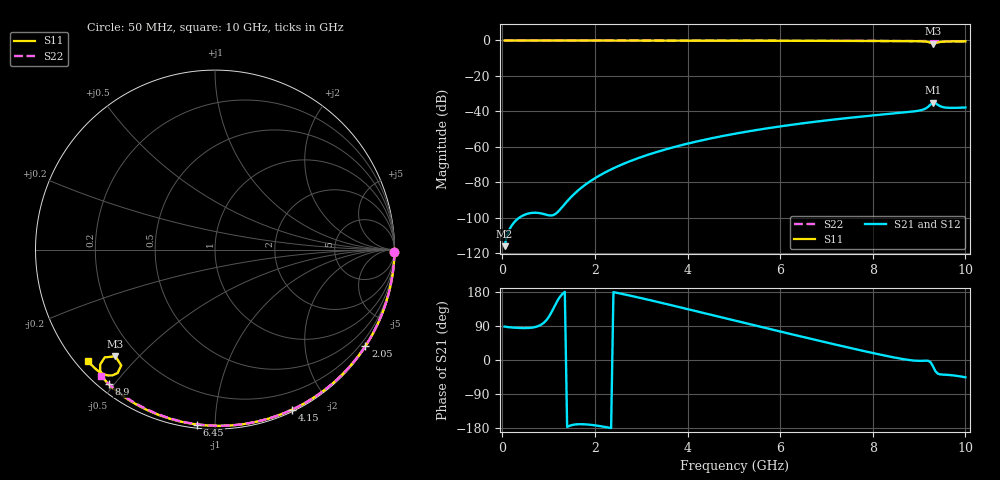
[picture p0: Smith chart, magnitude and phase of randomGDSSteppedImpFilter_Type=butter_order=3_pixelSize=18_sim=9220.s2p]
! freq	dB(S11)	phase(S11)	dB(S12)	phase(S12)
!  dB(S21)	phase(S21)	dB(S22)	phase(S22)
!S-par simulation data
#  GHz  S  DB  R 50
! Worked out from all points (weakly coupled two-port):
!   200 points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, 50 MHz to 10 GHz, reference 50 ohm
!   highest |S21| = -35.03 dB at 9.3 GHz (marker M1); lowest = -116.0 dB at 50 MHz (marker M2)
!   lowest |S11| = -1.8 dB at 9.3 GHz (marker M3), VSWR 9.69, Z = 6.12 - j21.4 ohm
!   |S11| at or under -10 dB: nowhere
!   |S22| runs from -0.4 to 0.0 dB; largest |S21 - S12| = 0
!   S11 on the Smith chart (normalised r, x): 50 MHz: open; 2.05 GHz: 0.03, -3.41; 4.15 GHz: 0.02, -1.59; 6.45 GHz: 0.02, -0.90; 8.9 GHz: 0.03, -0.48; 10 GHz: 0.03, -0.38
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0.05  -0.00 -0.8  -116.02 88.3  -116.02 88.3  -0.00 -0.8
0.9  -0.02 -14.5  -97.94 98.6  -97.94 98.6  -0.02 -13.6
1.75  -0.04 -28.0  -82.18 -169.5  -82.18 -169.5  -0.03 -26.3
1.85  -0.04 -29.6  -80.27 -170.3  -80.27 -170.3  -0.04 -27.8
2.05  -0.04 -32.7  -76.91 -173.3  -76.91 -173.3  -0.04 -30.7
2.35  -0.05 -37.3  -72.72 -179.7  -72.72 -179.7  -0.04 -35.1
2.65  -0.05 -41.9  -69.22 172.8  -69.22 172.8  -0.05 -39.4
3.4  -0.07 -53.2  -62.40 151.9  -62.40 151.9  -0.07 -50.1
4.15  -0.09 -64.2  -57.27 129.9  -57.27 129.9  -0.08 -60.4
5.05  -0.12 -76.9  -52.47 103.2  -52.47 103.2  -0.11 -72.5
6.45  -0.18 -95.8  -46.86 62.1  -46.86 62.1  -0.17 -90.3
6.7  -0.19 -99.1  -46.02 54.8  -46.02 54.8  -0.18 -93.4
8.35  -0.31 -120.5  -41.43 9.4  -41.43 9.4  -0.29 -113.1
8.9  -0.39 -128.3  -39.97 -1.7  -39.97 -1.7  -0.33 -119.4
9.1  -0.54 -132.3  -38.86 -2.0  -38.86 -2.0  -0.35 -121.7
9.2  -0.88 -135.0  -37.33 -2.2  -37.33 -2.2  -0.36 -122.9
9.25  -1.31 -135.7  -36.05 -6.1  -36.05 -6.1  -0.37 -123.4
9.3  -1.80 -133.1  -35.03 -16.6  -35.03 -16.6  -0.37 -124.0
9.35  -1.61 -129.0  -35.29 -29.0  -35.29 -29.0  -0.37 -124.6
9.45  -0.87 -129.2  -37.01 -37.8  -37.01 -37.8  -0.38 -125.7
9.65  -0.56 -133.3  -38.00 -39.5  -38.00 -39.5  -0.41 -128.0
10  -0.52 -138.6  -37.79 -45.6  -37.79 -45.6  -0.45 -132.0
